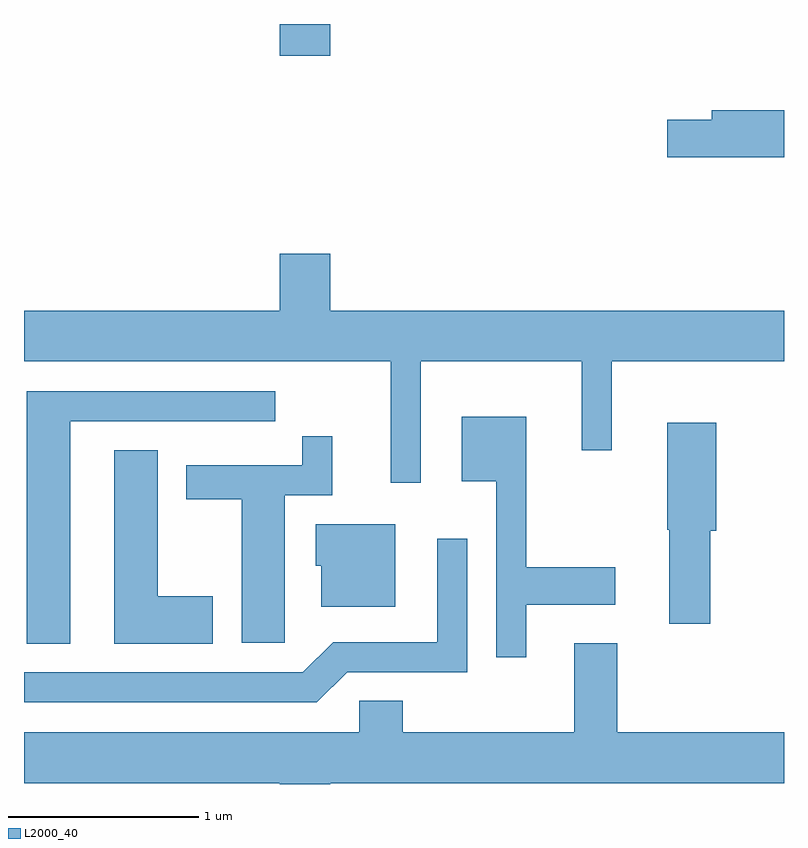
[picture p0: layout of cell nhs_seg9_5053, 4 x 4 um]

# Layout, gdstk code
import gdstk
lib = gdstk.Library(unit=1e-6, precision=1e-09)
def R(c, l, rs):  # rectangles x0, y0, x1, y1
    for r in rs: c.add(gdstk.rectangle(r[:2], r[2:], *l))
def P(c, l, *ps):  # polygons
    for p in ps: c.add(gdstk.Polygon(p, *l))
L2000_40 = (2000, 40)

nhs_seg9_5053 = lib.new_cell('nhs_seg9_5053')
R(nhs_seg9_5053, L2000_40, [(334.956,2042.266,335.224,2042.432)])
P(nhs_seg9_5053, L2000_40, [(337.611,2041.979),(337.231,2041.979),(337.231,2041.929),(336.996,2041.929),(336.996,2041.731),(337.611,2041.731)],
  [(335.699,2040.656),(336.546,2040.656),(336.546,2040.188),(336.704,2040.188),(336.704,2040.656),(337.611,2040.656),(337.611,2040.924),(335.224,2040.924),(335.224,2041.224),(334.956,2041.224),(334.956,2040.924),(333.611,2040.924),(333.611,2040.656),(335.541,2040.656),(335.541,2040.018),(335.699,2040.018)],
  [(333.854,2040.341),(334.933,2040.341),(334.933,2040.499),(333.626,2040.499),(333.626,2039.171),(333.854,2039.171)],
  [(336.254,2039.376),(336.724,2039.376),(336.724,2039.574),(336.254,2039.574),(336.254,2040.364),(335.916,2040.364),(335.916,2040.026),(336.096,2040.026),(336.096,2039.098),(336.254,2039.098)],
  [(337.224,2039.766),(337.254,2039.766),(337.254,2040.334),(336.996,2040.334),(336.996,2039.77),(337.006,2039.77),(337.006,2039.276),(337.224,2039.276)],
  [(334.984,2039.951),(335.234,2039.951),(335.234,2040.263),(335.076,2040.263),(335.076,2040.109),(334.466,2040.109),(334.466,2039.931),(334.756,2039.931),(334.756,2039.176),(334.984,2039.176)],
  [(334.604,2039.419),(334.314,2039.419),(334.314,2040.189),(334.086,2040.189),(334.086,2039.171),(334.604,2039.171)],
  [(335.564,2039.799),(335.146,2039.799),(335.146,2039.581),(335.176,2039.581),(335.176,2039.366),(335.564,2039.366)],
  [(335.312,2039.021),(335.944,2039.021),(335.944,2039.723),(335.786,2039.723),(335.786,2039.179),(335.239,2039.179),(335.079,2039.019),(333.611,2039.019),(333.611,2038.861),(335.152,2038.861)],
  [(335.224,2038.436),(337.611,2038.436),(337.611,2038.704),(336.734,2038.704),(336.734,2039.174),(336.506,2039.174),(336.506,2038.704),(335.604,2038.704),(335.604,2038.869),(335.376,2038.869),(335.376,2038.704),(333.611,2038.704),(333.611,2038.436),(334.956,2038.436),(334.956,2038.432),(335.224,2038.432)])

lib.write_gds('nhs_seg9_5053.gds')
